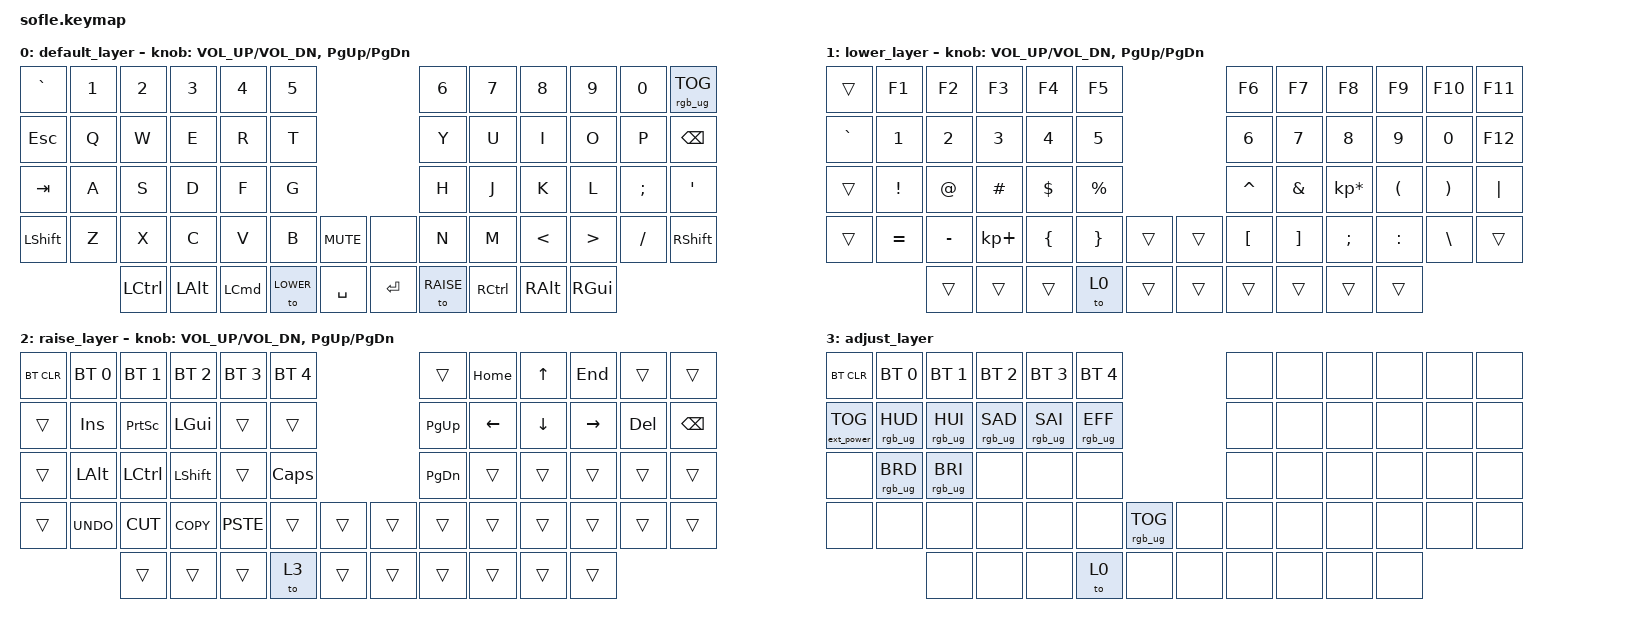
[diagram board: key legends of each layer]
/*
 * Copyright (c) 2020 The ZMK Contributors
 *
 * SPDX-License-Identifier: MIT
 */

#include <behaviors.dtsi>
#include <dt-bindings/zmk/bt.h>
#include <dt-bindings/zmk/ext_power.h>
#include <dt-bindings/zmk/keys.h>
#include <dt-bindings/zmk/rgb.h>

#define BASE 0
#define LOWER 1
#define RAISE 2
#define ADJUST 3

/ {
    // Activate ADJUST layer by pressing raise and lower

    conditional_layers {
        compatible = "zmk,conditional-layers";

        adjust_layer {
            if-layers = <LOWER RAISE>;
            then-layer = <ADJUST>;
        };
    };

    // BLE Profiles configuration

    ble_profiles: ble_profiles {
        compatible = "zmk,ble-profiles";
        profiles = <0 1 2 3 4>;
    };

    keymap {
        compatible = "zmk,keymap";

        default_layer {
            // ------------------------------------------------------------------------------------------------------------
            // |  `    |  1  |  2  |  3   |  4   |  5   |                   |  6   |  7    |  8    |  9   |   0   |       |
            // |  ESC  |  Q  |  W  |  E   |  R   |  T   |                   |  Y   |  U    |  I    |  O   |   P   | BKSPC |
            // |  TAB  |  A  |  S  |  D   |  F   |  G   |                   |  H   |  J    |  K    |  L   |   ;   |   '   |
            // | SHIFT |  Z  |  X  |  C   |  V   |  B   |  MUTE  |  |       |  N   |  M    |  ,    |  .   |   /   | SHIFT |
            //               | GUI | ALT  | CTRL | LOWER|  ENTER |  | SPACE | RAISE| CTRL  | ALT   | GUI  |

            bindings = <
&kp GRAVE  &kp N1  &kp N2            &kp N3    &kp N4            &kp N5                              &kp N6     &kp N7     &kp N8         &kp N9            &kp N0    &rgb_ug RGB_TOG
&kp ESC    &kp Q   &kp W             &kp E     &kp R             &kp T                               &kp Y      &kp U      &kp I          &kp O             &kp P     &kp BSPC
&kp TAB    &kp A   &kp S             &kp D     &kp F             &kp G                               &kp H      &kp J      &kp K          &kp L             &kp SEMI  &kp SQT
&kp LSHFT  &kp Z   &kp X             &kp C     &kp V             &kp B      &kp C_MUTE    &none      &kp N      &kp M      &kp LESS_THAN  &kp GREATER_THAN  &kp FSLH  &kp RSHFT
                   &kp LEFT_CONTROL  &kp LALT  &kp LEFT_COMMAND  &to LOWER  &kp SPACE     &kp ENTER  &to RAISE  &kp RCTRL  &kp RALT       &kp RGUI
            >;

            sensor-bindings = <&inc_dec_kp C_VOL_UP C_VOL_DN &inc_dec_kp PG_UP PG_DN>;
        };

        lower_layer {
            // ------------------------------------------------------------------------------------------------------------
            // |       |  F1 |  F2 |  F3  |  F4  |  F5  |                   |  F6  |  F7   |  F8   |  F9  |  F10  |  F11  |
            // | `     |   1 |   2 |   3  |   4  |   5  |                   |   6  |   7   |   8   |   9  |    0  |  F12  |
            // |       |  !  |  @  |  #   |  $   |  %   |                   |  ^   |  &    |  *    |  (   |   )   |   |   |
            // |       |  =  |  -  |  +   |  {   |  }   |        |  |       |  [   |  ]    |  ;    |  :   |   \   |       |
            //               |     |      |      |      |        |  |       |      |       |       |      |

            bindings = <
&trans     &kp F1     &kp F2     &kp F3       &kp F4    &kp F5                       &kp F6     &kp F7    &kp F8           &kp F9     &kp F10   &kp F11
&kp GRAVE  &kp N1     &kp N2     &kp N3       &kp N4    &kp N5                       &kp N6     &kp N7    &kp N8           &kp N9     &kp N0    &kp F12
&trans     &kp EXCL   &kp AT     &kp HASH     &kp DLLR  &kp PRCNT                    &kp CARET  &kp AMPS  &kp KP_MULTIPLY  &kp LPAR   &kp RPAR  &kp PIPE
&trans     &kp EQUAL  &kp MINUS  &kp KP_PLUS  &kp LBRC  &kp RBRC   &trans    &trans  &kp LBKT   &kp RBKT  &kp SEMI         &kp COLON  &kp BSLH  &trans
                      &trans     &trans       &trans    &to 0      &trans    &trans  &trans     &trans    &trans           &trans
            >;

            sensor-bindings = <&inc_dec_kp C_VOL_UP C_VOL_DN &inc_dec_kp PG_UP PG_DN>;
        };

        raise_layer {
            // ------------------------------------------------------------------------------------------------------------
            // |BTCLR | BT1  | BT2  |  BT3  |  BT4  |  BT5 |                |      |      |       |      |       |       |
            // |      | INS  | PSCR | GUI   |       |      |                | PGUP | HOME |   ^   | END  |       |       |
            // |      | ALT  | CTRL | SHIFT |       | CAPS |                | PGDN |   <- |   v   |  ->  |  DEL  | BKSPC |
            // |      | UNDO | CUT  | COPY  | PASTE |      |      |  |      |      |      |       |      |       |       |
            //               |      |       |       |      |      |  |      |      |      |       |      |

            bindings = <
&bt BT_CLR  &bt BT_SEL 0  &bt BT_SEL 1  &bt BT_SEL 2  &bt BT_SEL 3  &bt BT_SEL 4                    &trans     &kp HOME  &kp UP    &kp END    &trans   &trans
&trans      &kp INS       &kp PSCRN     &kp LGUI      &trans        &trans                          &kp PG_UP  &kp LEFT  &kp DOWN  &kp RIGHT  &kp DEL  &kp BSPC
&trans      &kp LALT      &kp LCTRL     &kp LSHFT     &trans        &kp CAPS                        &kp PG_DN  &trans    &trans    &trans     &trans   &trans
&trans      &kp UNDO      &kp CUT       &kp COPY      &kp PSTE      &trans        &trans    &trans  &trans     &trans    &trans    &trans     &trans   &trans
                          &trans        &trans        &trans        &to 3         &trans    &trans  &trans     &trans    &trans    &trans
            >;

            sensor-bindings = <&inc_dec_kp C_VOL_UP C_VOL_DN &inc_dec_kp PG_UP PG_DN>;
        };

        adjust_layer {
            // ------------------------------------------------------------------------------------------------------------
            // |BTCLR | BT1   | BT2   |  BT3  |  BT4  |  BT5  |                |      |      |       |      |       |       |
            // |EXTPWR|RGB_HUD|RGB_HUI|RGB_SAD|RGB_SAI|RGB_EFF|                |      |      |       |      |       |       |
            // |      |RGB_BRD|RGB_BRI|       |       |       |                |      |      |       |      |       |       |
            // |      |       |       |       |       |       |RGB_TOG| |      |      |      |       |      |       |       |
            //                |       |       |       |       |       | |      |      |      |       |      |

            bindings = <
&bt BT_CLR         &bt BT_SEL 0     &bt BT_SEL 1     &bt BT_SEL 2     &bt BT_SEL 3     &bt BT_SEL 4                               &none  &none  &none  &none  &none  &none
&ext_power EP_TOG  &rgb_ug RGB_HUD  &rgb_ug RGB_HUI  &rgb_ug RGB_SAD  &rgb_ug RGB_SAI  &rgb_ug RGB_EFF                            &none  &none  &none  &none  &none  &none
&none              &rgb_ug RGB_BRD  &rgb_ug RGB_BRI  &none            &none            &none                                      &none  &none  &none  &none  &none  &none
&none              &none            &none            &none            &none            &none            &rgb_ug RGB_TOG    &none  &none  &none  &none  &none  &none  &none
                                    &none            &none            &none            &to 0            &none              &none  &none  &none  &none  &none
            >;
        };
    };
};
